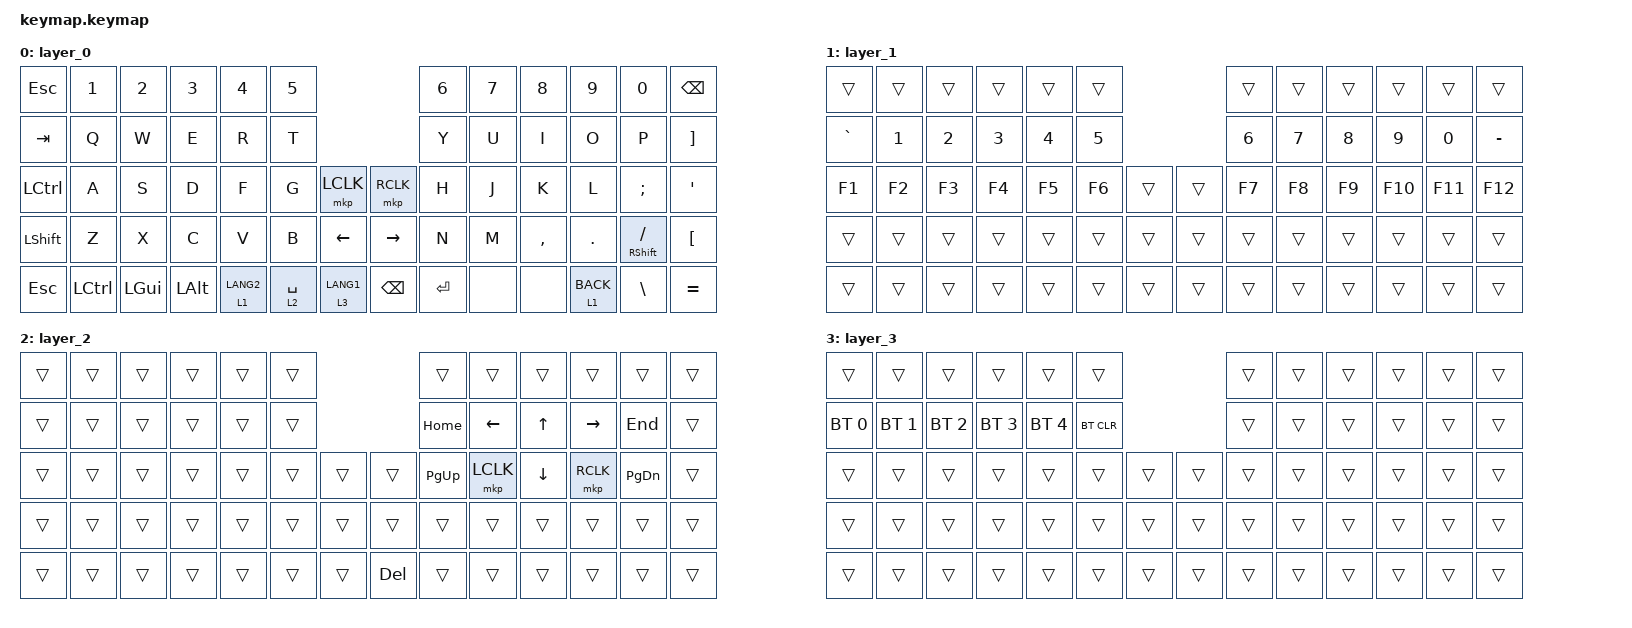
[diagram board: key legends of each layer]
#include <input/processors.dtsi>
#include <behaviors.dtsi>
#include <dt-bindings/zmk/bt.h>
#include <dt-bindings/zmk/keys.h>
#include <dt-bindings/zmk/pointing.h>
#include <dt-bindings/input/input-event-codes.h>

/ {
    /* ▼▼▼ X軸(横)専用の設定 ▼▼▼ */
    zip_x_scaler: zip_x_scaler {
        compatible = "zmk,input-processor-scaler";
        #input-processor-cells = <2>;
        type = <INPUT_EV_REL>;
        codes = <INPUT_REL_X>;
    };

    /* ▼▼▼ Y軸(縦)専用の設定 ▼▼▼ */
    zip_y_scaler: zip_y_scaler {
        compatible = "zmk,input-processor-scaler";
        #input-processor-cells = <2>;
        type = <INPUT_EV_REL>;
        codes = <INPUT_REL_Y>;
    };

    combos {
        compatible = "zmk,combos";

        bt_clear {
            bindings = <&bt BT_CLR>;
            key-positions = <28 29>;
            layers = <2>;
        };
    };

    keymap {
        compatible = "zmk,keymap";

        layer_0 {
            bindings = <
&kp ESC           &kp N1      &kp N2      &kp N3      &kp N4       &kp N5                                  &kp N6       &kp N7  &kp N8       &kp N9       &kp N0                 &kp BSPC
&kp TAB           &kp Q       &kp W       &kp E       &kp R        &kp T                                   &kp Y        &kp U   &kp I        &kp O        &kp P                  &kp RIGHT_BRACKET
&kp LEFT_CONTROL  &kp A       &kp S       &kp D       &kp F        &kp G         &mkp LCLK     &mkp RCLK   &kp H        &kp J   &kp K        &kp L        &kp SEMI               &kp SQT
&kp LSHFT         &kp Z       &kp X       &kp C       &kp V        &kp B         &kp LEFT_ARROW &kp RIGHT_ARROW &kp N   &kp M   &kp COMMA    &kp DOT      &mt RIGHT_SHIFT FSLH   &kp LEFT_BRACKET
&kp ESCAPE        &kp LCTRL   &kp LGUI    &kp LALT    &lt 1 LANG2  &lt 2 SPACE   &lt 3 LANG1      &kp BACKSPACE   &kp ENTER  &none   &none        &lt 1 K_BACK  &kp BACKSLASH          &kp EQUAL
            >;
        };

        layer_1 {
            bindings = <
&trans     &trans        &trans        &trans        &trans        &trans                          &trans        &trans        &trans        &trans        &trans        &trans
&kp GRAVE  &kp NUMBER_1  &kp NUMBER_2  &kp NUMBER_3  &kp NUMBER_4  &kp N5                          &kp NUMBER_6  &kp NUMBER_7  &kp NUMBER_8  &kp NUMBER_9  &kp NUMBER_0  &kp MINUS
&kp F1     &kp F2        &kp F3        &kp F4        &kp F5        &kp F6  &trans  &trans          &kp F7        &kp F8        &kp F9        &kp F10       &kp F11       &kp F12
&trans     &trans        &trans        &trans        &trans        &trans  &trans  &trans          &trans        &trans        &trans        &trans        &trans        &trans
&trans     &trans        &trans        &trans        &trans        &trans  &trans  &trans          &trans        &trans        &trans        &trans        &trans        &trans
            >;
        };

        layer_2 {
            bindings = <
&trans  &trans  &trans  &trans  &trans  &trans                          &trans       &trans          &trans        &trans           &trans         &trans
&trans  &trans  &trans  &trans  &trans  &trans                          &kp HOME     &kp LEFT_ARROW  &kp UP_ARROW  &kp RIGHT_ARROW  &kp END        &trans
&trans  &trans  &trans  &trans  &trans  &trans  &trans  &trans          &kp PAGE_UP  &mkp LCLK       &kp DOWN_ARROW &mkp RCLK       &kp PAGE_DOWN  &trans
&trans  &trans  &trans  &trans  &trans  &trans  &trans  &trans          &trans       &trans          &trans        &trans           &trans         &trans
&trans  &trans  &trans  &trans  &trans  &trans  &trans  &kp DELETE      &trans       &trans          &trans        &trans           &trans         &trans
            >;
        };

        layer_3 {
            bindings = <
&trans        &trans        &trans        &trans        &trans        &trans                          &trans  &trans  &trans  &trans  &trans  &trans
&bt BT_SEL 0  &bt BT_SEL 1  &bt BT_SEL 2  &bt BT_SEL 3  &bt BT_SEL 4  &bt BT_CLR                      &trans  &trans  &trans  &trans  &trans  &trans
&trans        &trans        &trans        &trans        &trans        &trans      &trans  &trans      &trans  &trans  &trans  &trans  &trans  &trans
&trans        &trans        &trans        &trans        &trans        &trans      &trans  &trans      &trans  &trans  &trans  &trans  &trans  &trans
&trans        &trans        &trans        &trans        &trans        &trans      &trans  &trans      &trans  &trans  &trans  &trans  &trans  &trans
            >;
        };
    };
}; 

/* ▼▼▼ ここで適用（カッコを追加しました） ▼▼▼ */
&trackball_listener {
    compatible = "zmk,input-listener";
    device = <&trackball>;

    scroller {
        layers = <3>;
        /* * zip_x_scaler (-1) 4 : 横は「-1(反転)」かつ「8(減速)」
         * zip_y_scaler   1  4 : 縦は「1 (通常)」かつ「8(減速)」
         */
        input-processors = <&zip_x_scaler (-1) 8>, <&zip_y_scaler 1 8>, <&zip_xy_to_scroll_mapper>;
    };
};
